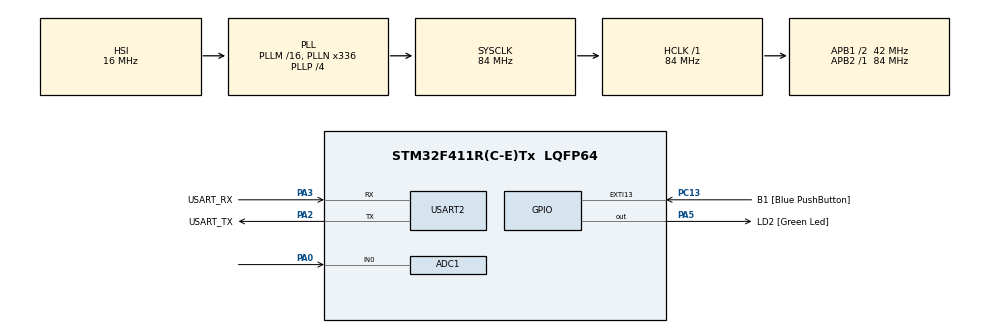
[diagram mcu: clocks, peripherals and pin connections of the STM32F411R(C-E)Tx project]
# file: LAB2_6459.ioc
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ADC1.Channel-0\#ChannelRegularConversion=ADC_CHANNEL_0
ADC1.Channel-3\#ChannelRegularConversion=ADC_CHANNEL_TEMPSENSOR
ADC1.ContinuousConvMode=ENABLE
ADC1.DMAContinuousRequests=ENABLE
ADC1.EOCSelection=ADC_EOC_SEQ_CONV
ADC1.InjNumberOfConversion=0
ADC1.NbrOfConversion=2
ADC1.NbrOfConversionFlag=1
ADC1.Rank-0\#ChannelRegularConversion=1
ADC1.Rank-3\#ChannelRegularConversion=2
ADC1.SamplingTime-0\#ChannelRegularConversion=ADC_SAMPLETIME_56CYCLES
ADC1.SamplingTime-3\#ChannelRegularConversion=ADC_SAMPLETIME_56CYCLES
ADC1.ScanConvMode=ENABLE
ADC1.master=1
Dma.ADC1.0.Direction=DMA_PERIPH_TO_MEMORY
Dma.ADC1.0.FIFOMode=DMA_FIFOMODE_DISABLE
Dma.ADC1.0.Instance=DMA2_Stream0
Dma.ADC1.0.MemDataAlignment=DMA_MDATAALIGN_HALFWORD
Dma.ADC1.0.MemInc=DMA_MINC_ENABLE
Dma.ADC1.0.Mode=DMA_CIRCULAR
Dma.ADC1.0.PeriphDataAlignment=DMA_PDATAALIGN_HALFWORD
Dma.ADC1.0.PeriphInc=DMA_PINC_DISABLE
Dma.ADC1.0.Priority=DMA_PRIORITY_LOW
Dma.Request0=ADC1
Mcu.Family=STM32F4
Mcu.Name=STM32F411R(C-E)Tx
Mcu.Package=LQFP64
NVIC.ADC_IRQn=true\:0\:0\:false\:false\:true\:true\:true\:true
NVIC.DMA2_Stream0_IRQn=true\:0\:0\:false\:false\:true\:false\:true\:true
NVIC.EXTI15_10_IRQn=true\:0\:0\:false\:false\:true\:true\:true\:true
NVIC.PriorityGroup=NVIC_PRIORITYGROUP_0
PA0-WKUP.Signal=ADCx_IN0
PA13.GPIO_Label=TMS
PA13.Mode=Serial_Wire
PA13.Signal=SYS_JTMS-SWDIO
PA14.GPIO_Label=TCK
PA14.Mode=Serial_Wire
PA14.Signal=SYS_JTCK-SWCLK
PA2.GPIO_Label=USART_TX
PA2.Mode=Asynchronous
PA2.Signal=USART2_TX
PA3.GPIO_Label=USART_RX
PA3.Mode=Asynchronous
PA3.Signal=USART2_RX
PA5.GPIO_Label=LD2 [Green Led]
PA5.Signal=GPIO_Output
PB3.GPIO_Label=SWO
PB3.Signal=SYS_JTDO-SWO
PC13-ANTI_TAMP.GPIO_Label=B1 [Blue PushButton]
PC13-ANTI_TAMP.GPIO_ModeDefaultEXTI=GPIO_MODE_IT_FALLING
PC13-ANTI_TAMP.Signal=GPXTI13
PC14-OSC32_IN.Mode=LSE-External-Oscillator
PC14-OSC32_IN.Signal=RCC_OSC32_IN
PC15-OSC32_OUT.Mode=LSE-External-Oscillator
PC15-OSC32_OUT.Signal=RCC_OSC32_OUT
PH0\ -\ OSC_IN.Mode=HSE-External-Clock-Source
PH0\ -\ OSC_IN.Signal=RCC_OSC_IN
PH1\ -\ OSC_OUT.Mode=HSE-External-Clock-Source
PH1\ -\ OSC_OUT.Signal=RCC_OSC_OUT
ProjectManager.HeapSize=0x200
ProjectManager.StackSize=0x400
ProjectManager.TargetToolchain=STM32CubeIDE
RCC.48MHZClocksFreq_Value=84000000
RCC.AHBFreq_Value=84000000
RCC.APB1CLKDivider=RCC_HCLK_DIV2
RCC.APB1Freq_Value=42000000
RCC.APB1TimFreq_Value=84000000
RCC.APB2Freq_Value=84000000
RCC.APB2TimFreq_Value=84000000
RCC.CortexFreq_Value=84000000
RCC.FLatency-AdvancedSettings=FLASH_LATENCY_2
RCC.HCLKFreq_Value=84000000
RCC.HSE_VALUE=8000000
RCC.HSI_VALUE=16000000
RCC.PLLN=336
RCC.PLLP=RCC_PLLP_DIV4
RCC.SYSCLKFreq_VALUE=84000000
RCC.SYSCLKSource=RCC_SYSCLKSOURCE_PLLCLK
RCC.VCOOutputFreq_Value=336000000
SH.ADCx_IN0.0=ADC1_IN0,IN0
USART2.VirtualMode=VM_ASYNC
VP_ADC1_TempSens_Input.Mode=IN-TempSens
board=NUCLEO-F411RE

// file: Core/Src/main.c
/* USER CODE BEGIN Header */
/**
  ******************************************************************************
  * @file           : main.c
  * @brief          : Main program body
  ******************************************************************************
  * @attention
  *
  * Copyright (c) 2023 STMicroelectronics.
  * All rights reserved.
  *
  * This software is licensed under terms that can be found in the LICENSE file
  * in the root directory of this software component.
  * If no LICENSE file comes with this software, it is provided AS-IS.
  *
  ******************************************************************************
  */
/* USER CODE END Header */
#include "main.h"

ADC_HandleTypeDef hadc1;
DMA_HandleTypeDef hdma_adc1;

UART_HandleTypeDef huart2;

/* USER CODE BEGIN PV */
typedef struct {
	uint16_t adcIN;
	uint16_t adcTemp;
} buffDMAADC;

buffDMAADC adcBuffer[10];

uint16_t avgVolt = 0;
uint16_t Volt = 0;

uint16_t avgTempC = 0;
uint16_t TempK = 0;

/* USER CODE END PV */

void SystemClock_Config(void);
static void MX_GPIO_Init(void);
static void MX_DMA_Init(void);
static void MX_USART2_UART_Init(void);
static void MX_ADC1_Init(void);
/* USER CODE BEGIN PFP */
void adcConverter();
/* USER CODE END PFP */

int main(void)
{

  /* MCU Configuration--------------------------------------------------------*/

  /* Reset of all peripherals, Initializes the Flash interface and the Systick. */
  HAL_Init();

  /* Configure the system clock */
  SystemClock_Config();

  /* Initialize all configured peripherals */
  MX_GPIO_Init();
  MX_DMA_Init();
  MX_USART2_UART_Init();
  MX_ADC1_Init();

  /* Infinite loop */
  /* USER CODE BEGIN WHILE */
   	   HAL_ADC_Start_DMA(&hadc1, (uint32_t*) adcBuffer, 20);
  while (1)
  {
    /* USER CODE END WHILE */

    /* USER CODE BEGIN 3 */
	static uint32_t timeStamp = 0;
	if (HAL_GetTick() >= timeStamp) {
		timeStamp = HAL_GetTick() + 1000;
		adcConverter();
	}
  }
  /* USER CODE END 3 */
}

void SystemClock_Config(void)
{
  RCC_OscInitTypeDef RCC_OscInitStruct = {0};
  RCC_ClkInitTypeDef RCC_ClkInitStruct = {0};

  /** Configure the main internal regulator output voltage
  */
  __HAL_RCC_PWR_CLK_ENABLE();
  __HAL_PWR_VOLTAGESCALING_CONFIG(PWR_REGULATOR_VOLTAGE_SCALE1);

  /** Initializes the RCC Oscillators according to the specified parameters
  * in the RCC_OscInitTypeDef structure.
  */
  RCC_OscInitStruct.OscillatorType = RCC_OSCILLATORTYPE_HSI;
  RCC_OscInitStruct.HSIState = RCC_HSI_ON;
  RCC_OscInitStruct.HSICalibrationValue = RCC_HSICALIBRATION_DEFAULT;
  RCC_OscInitStruct.PLL.PLLState = RCC_PLL_ON;
  RCC_OscInitStruct.PLL.PLLSource = RCC_PLLSOURCE_HSI;
  RCC_OscInitStruct.PLL.PLLM = 16;
  RCC_OscInitStruct.PLL.PLLN = 336;
  RCC_OscInitStruct.PLL.PLLP = RCC_PLLP_DIV4;
  RCC_OscInitStruct.PLL.PLLQ = 4;
  if (HAL_RCC_OscConfig(&RCC_OscInitStruct) != HAL_OK)
  {
    Error_Handler();
  }

  /** Initializes the CPU, AHB and APB buses clocks
  */
  RCC_ClkInitStruct.ClockType = RCC_CLOCKTYPE_HCLK|RCC_CLOCKTYPE_SYSCLK
                              |RCC_CLOCKTYPE_PCLK1|RCC_CLOCKTYPE_PCLK2;
  RCC_ClkInitStruct.SYSCLKSource = RCC_SYSCLKSOURCE_PLLCLK;
  RCC_ClkInitStruct.AHBCLKDivider = RCC_SYSCLK_DIV1;
  RCC_ClkInitStruct.APB1CLKDivider = RCC_HCLK_DIV2;
  RCC_ClkInitStruct.APB2CLKDivider = RCC_HCLK_DIV1;

  if (HAL_RCC_ClockConfig(&RCC_ClkInitStruct, FLASH_LATENCY_2) != HAL_OK)
  {
    Error_Handler();
  }
}

static void MX_ADC1_Init(void)
{

  ADC_ChannelConfTypeDef sConfig = {0};

  /** Configure the global features of the ADC (Clock, Resolution, Data Alignment and number of conversion)
  */
  hadc1.Instance = ADC1;
  hadc1.Init.ClockPrescaler = ADC_CLOCK_SYNC_PCLK_DIV4;
  hadc1.Init.Resolution = ADC_RESOLUTION_12B;
  hadc1.Init.ScanConvMode = ENABLE;
  hadc1.Init.ContinuousConvMode = ENABLE;
  hadc1.Init.DiscontinuousConvMode = DISABLE;
  hadc1.Init.ExternalTrigConvEdge = ADC_EXTERNALTRIGCONVEDGE_NONE;
  hadc1.Init.ExternalTrigConv = ADC_SOFTWARE_START;
  hadc1.Init.DataAlign = ADC_DATAALIGN_RIGHT;
  hadc1.Init.NbrOfConversion = 2;
  hadc1.Init.DMAContinuousRequests = ENABLE;
  hadc1.Init.EOCSelection = ADC_EOC_SEQ_CONV;
  if (HAL_ADC_Init(&hadc1) != HAL_OK)
  {
    Error_Handler();
  }

  /** Configure for the selected ADC regular channel its corresponding rank in the sequencer and its sample time.
  */
  sConfig.Channel = ADC_CHANNEL_0;
  sConfig.Rank = 1;
  sConfig.SamplingTime = ADC_SAMPLETIME_56CYCLES;
  if (HAL_ADC_ConfigChannel(&hadc1, &sConfig) != HAL_OK)
  {
    Error_Handler();
  }

  /** Configure for the selected ADC regular channel its corresponding rank in the sequencer and its sample time.
  */
  sConfig.Channel = ADC_CHANNEL_TEMPSENSOR;
  sConfig.Rank = 2;
  if (HAL_ADC_ConfigChannel(&hadc1, &sConfig) != HAL_OK)
  {
    Error_Handler();
  }

}

static void MX_USART2_UART_Init(void)
{

  huart2.Instance = USART2;
  huart2.Init.BaudRate = 115200;
  huart2.Init.WordLength = UART_WORDLENGTH_8B;
  huart2.Init.StopBits = UART_STOPBITS_1;
  huart2.Init.Parity = UART_PARITY_NONE;
  huart2.Init.Mode = UART_MODE_TX_RX;
  huart2.Init.HwFlowCtl = UART_HWCONTROL_NONE;
  huart2.Init.OverSampling = UART_OVERSAMPLING_16;
  if (HAL_UART_Init(&huart2) != HAL_OK)
  {
    Error_Handler();
  }

}

static void MX_DMA_Init(void)
{

  /* DMA controller clock enable */
  __HAL_RCC_DMA2_CLK_ENABLE();

  /* DMA interrupt init */
  /* DMA2_Stream0_IRQn interrupt configuration */
  HAL_NVIC_SetPriority(DMA2_Stream0_IRQn, 0, 0);
  HAL_NVIC_EnableIRQ(DMA2_Stream0_IRQn);

}

static void MX_GPIO_Init(void)
{
  GPIO_InitTypeDef GPIO_InitStruct = {0};

  /* GPIO Ports Clock Enable */
  __HAL_RCC_GPIOC_CLK_ENABLE();
  __HAL_RCC_GPIOH_CLK_ENABLE();
  __HAL_RCC_GPIOA_CLK_ENABLE();
  __HAL_RCC_GPIOB_CLK_ENABLE();

  /*Configure GPIO pin Output Level */
  HAL_GPIO_WritePin(LD2_GPIO_Port, LD2_Pin, GPIO_PIN_RESET);

  /*Configure GPIO pin : B1_Pin */
  GPIO_InitStruct.Pin = B1_Pin;
  GPIO_InitStruct.Mode = GPIO_MODE_IT_FALLING;
  GPIO_InitStruct.Pull = GPIO_NOPULL;
  HAL_GPIO_Init(B1_GPIO_Port, &GPIO_InitStruct);

  /*Configure GPIO pin : LD2_Pin */
  GPIO_InitStruct.Pin = LD2_Pin;
  GPIO_InitStruct.Mode = GPIO_MODE_OUTPUT_PP;
  GPIO_InitStruct.Pull = GPIO_NOPULL;
  GPIO_InitStruct.Speed = GPIO_SPEED_FREQ_LOW;
  HAL_GPIO_Init(LD2_GPIO_Port, &GPIO_InitStruct);

  /* EXTI interrupt init*/
  HAL_NVIC_SetPriority(EXTI15_10_IRQn, 0, 0);
  HAL_NVIC_EnableIRQ(EXTI15_10_IRQn);

}

/* USER CODE BEGIN 4 */
void adcConverter(){
	for (int i = 0; i < 10; i++) {
			if(i == 0){
				avgVolt = 0;
				avgTempC = 0;
			}

			avgVolt += adcBuffer[i].adcIN;
			avgTempC += adcBuffer[i].adcTemp;

			if(i == 9){
				avgVolt = avgVolt/10;
				avgTempC = avgTempC/10;
			}
		}

		Volt = (((avgVolt * 3.3) / 4096)* 1000)* 2;
		TempK = (((((avgTempC * 3.3)/ 4096)*1000)- 760)/ 2.5) + 25 + 273.15;

}
/* USER CODE END 4 */

void Error_Handler(void)
{
  __disable_irq();
  while (1)
  {
  }
}
